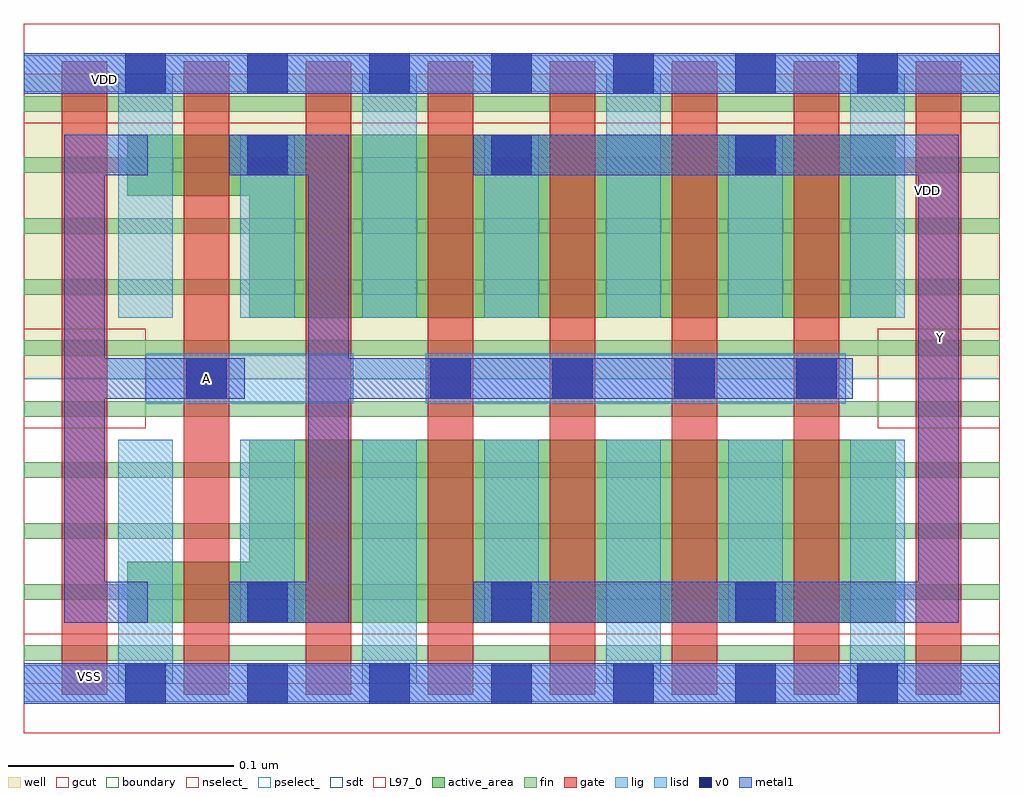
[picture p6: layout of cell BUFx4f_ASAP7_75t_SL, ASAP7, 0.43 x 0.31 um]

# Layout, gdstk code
import gdstk
lib = gdstk.Library(unit=1e-6, precision=2.5e-10)
def R(c, l, rs):  # rectangles x0, y0, x1, y1
    for r in rs: c.add(gdstk.rectangle(r[:2], r[2:], *l))
def A(c, l, x, y, w, h, nx, ny, dx, dy):  # array of equal rectangles
    R(c, l, [(x+i*dx, y+j*dy, x+i*dx+w, y+j*dy+h) for i in range(nx) for j in range(ny)])
def P(c, l, *ps):  # polygons
    for p in ps: c.add(gdstk.Polygon(p, *l))
well = (1, 0)
fin = (2, 0)
gate = (7, 0)
gcut = (10, 0)
active_area = (11, 0)
nselect_ = (12, 0)
pselect_ = (13, 0)
lig = (16, 0)
lisd = (17, 0)
v0 = (18, 0)
metal1 = (19, 0)
sdt = (88, 0)
L97_0 = (97, 0)
boundary = (100, 0)

bufx4f_asap7_75t_sl = lib.new_cell('BUFx4f_ASAP7_75t_SL')
R(bufx4f_asap7_75t_sl, well, [(0,0.135,0.432,0.27)])
A(bufx4f_asap7_75t_sl, fin, 0, 0.01, 0.432, 0.007, 1, 10, 0, 0.027)
A(bufx4f_asap7_75t_sl, gate, 0.017, -0.005, 0.02, 0.2805, 8, 1, 0.054, 0)
R(bufx4f_asap7_75t_sl, gcut, [(0,-0.022,0.432,0.022), (0,0.113,0.054,0.157), (0.378,0.113,0.432,0.157), (0,0.248,0.432,0.292)])
P(bufx4f_asap7_75t_sl, active_area, [(0.386,0.243),(0.046,0.243),(0.046,0.216),(0.1,0.216),(0.1,0.162),(0.386,0.162)],
  [(0.386,0.108),(0.1,0.108),(0.1,0.054),(0.046,0.054),(0.046,0.027),(0.386,0.027)])
R(bufx4f_asap7_75t_sl, nselect_, [(0,0,0.432,0.135)])
R(bufx4f_asap7_75t_sl, pselect_, [(0,0.135,0.432,0.27)])
R(bufx4f_asap7_75t_sl, lig, [(0,-0.008,0.432,0.008), (0.054,0.124,0.146,0.146), (0.178,0.124,0.364,0.146), (0,0.262,0.432,0.278)])
A(bufx4f_asap7_75t_sl, lisd, 0.042, 0, 0.024, 0.108, 4, 2, 0.108, 0.162)
A(bufx4f_asap7_75t_sl, lisd, 0.096, 0.027, 0.024, 0.081, 3, 2, 0.108, 0.135)
A(bufx4f_asap7_75t_sl, v0, 0.045, -0.009, 0.018, 0.018, 7, 2, 0.054, 0.27)
A(bufx4f_asap7_75t_sl, v0, 0.099, 0.027, 0.018, 0.018, 3, 2, 0.108, 0.198)
A(bufx4f_asap7_75t_sl, v0, 0.18, 0.126, 0.018, 0.018, 4, 1, 0.054, 0)
R(bufx4f_asap7_75t_sl, v0, [(0.072,0.126,0.09,0.144)])
R(bufx4f_asap7_75t_sl, metal1, [(0,-0.009,0.432,0.009), (0,0.261,0.432,0.279)])
P(bufx4f_asap7_75t_sl, metal1, [(0.098,0.144),(0.036,0.144),(0.036,0.225),(0.055,0.225),(0.055,0.243),(0.018,0.243),(0.018,0.027),(0.055,0.027),(0.055,0.045),(0.036,0.045),(0.036,0.126),(0.098,0.126)],
  [(0.367,0.144),(0.144,0.144),(0.144,0.243),(0.091,0.243),(0.091,0.225),(0.126,0.225),(0.126,0.045),(0.091,0.045),(0.091,0.027),(0.144,0.027),(0.144,0.126),(0.367,0.126)],
  [(0.414,0.243),(0.199,0.243),(0.199,0.225),(0.396,0.225),(0.396,0.045),(0.199,0.045),(0.199,0.027),(0.414,0.027)])
A(bufx4f_asap7_75t_sl, sdt, 0.042, 0.027, 0.024, 0.081, 7, 2, 0.054, 0.135)
R(bufx4f_asap7_75t_sl, L97_0, [(0,0,0.432,0.27)])
R(bufx4f_asap7_75t_sl, boundary, [(0,0,0.432,0.27)])
bufx4f_asap7_75t_sl.add(gdstk.Label('VDD', (0.4,0.218), layer=1, texttype=251))
bufx4f_asap7_75t_sl.add(gdstk.Label('VSS', (0.029,0.003), layer=19, texttype=251))
bufx4f_asap7_75t_sl.add(gdstk.Label('VDD', (0.036,0.2675), layer=19, texttype=251))
bufx4f_asap7_75t_sl.add(gdstk.Label('A', (0.081,0.135), layer=19, texttype=251))
bufx4f_asap7_75t_sl.add(gdstk.Label('Y', (0.406,0.153), layer=19, texttype=251))
bufx4f_asap7_75t_sl.add(gdstk.Label('VSS', (0.469,0.217), layer=3, texttype=251))

lib.write_gds('BUFx4f_ASAP7_75t_SL.gds')
